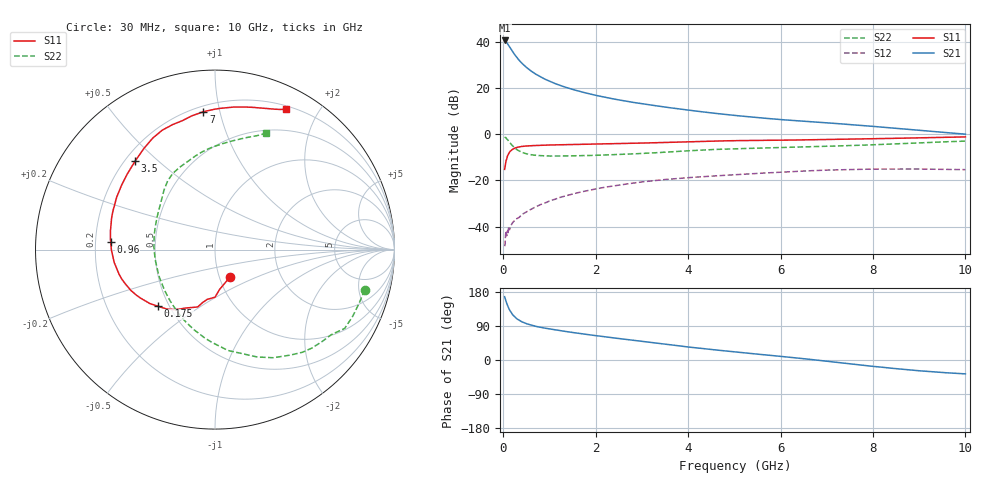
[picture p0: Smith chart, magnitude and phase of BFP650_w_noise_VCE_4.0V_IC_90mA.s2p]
! Infineon Technologies  Discrete & RF Semiconductors
! BFP650
! VCE =  4.0 V,  IC =  90 mA
! Common Emitter S-Parameters:  Jan 2016
# GHz  S  MA  R  50
!  f  S11  S21  S12  S22
! GHz  MAG  ANG  MAG  ANG  MAG  ANG  MAG  ANG
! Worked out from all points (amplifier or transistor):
!   229 points, 30 MHz to 10 GHz, reference 50 ohm
!   highest |S21| = 40.6 dB at 30 MHz (marker M1)
!   |S21| within 3 dB of that: start of sweep to 144.7 MHz
!   unconditionally stable (mu >= 1): 1.303 GHz to end of sweep
!   at 280 MHz: K = 0.63, MSG = 35.2 dB, |S12| = -36.7 dB
!   at 1.78 GHz: K = 1.02, MAG = 20.3 dB, |S12| = -24.6 dB
!   at 10 GHz: K = 1.03, MAG = 6.7 dB, |S12| = -15.3 dB
!   lowest NFmin = 1.34 dB at 450 MHz
!   S11 on the Smith chart (normalised r, x): 30 MHz: 1.12, -0.35; 175 MHz: 0.44, -0.35; 960 MHz: 0.26, +0.03; 3.5 GHz: 0.24, +0.42; 7 GHz: 0.24, +0.89; 10 GHz: 0.24, +1.60
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0.03  0.174 -61.2  106.6 167.1  0.0038 38.6  0.8633 -15.1
0.04  0.1959 -74.0  105.6 162.8  0.0042 59.5  0.857 -20.3
0.05  0.2233 -83.4  102.6 158.7  0.0066 74.5  0.8527 -25.7
0.065  0.2721 -94.6  99.65 153.4  0.0072 69.0  0.8231 -33.7
0.08  0.3023 -103.1  95.29 148.0  0.0065 64.3  0.7872 -40.4
0.1  0.3491 -112.4  89.19 141.7  0.0074 71.4  0.7517 -49.5
0.13  0.4009 -123.6  79.59 133.6  0.0086 63.6  0.6843 -61.7
0.175  0.447 -135.0  67.68 125.0  0.0109 59.8  0.6011 -75.0
0.2  0.4714 -140.4  61.81 120.0  0.0121 61.6  0.5664 -82.7
0.26  0.5052 -149.6  50.79 112.3  0.0141 56.0  0.4968 -96.4
0.3  0.521 -154.1  44.93 108.3  0.0151 57.3  0.4628 -104.3
0.4  0.5449 -162.5  34.63 101.0  0.0183 60.2  0.4092 -119.8
0.6  0.5664 -172.9  23.37 92.0  0.0238 61.2  0.3613 -141.0
0.96  0.5833 175.8  14.62 82.8  0.0346 62.1  0.3383 -163.8
1.7  0.606 160.4  8.211 69.3  0.057 57.0  0.3446 171.1
3.4  0.6595 133.5  3.999 43.3  0.1025 38.8  0.4033 138.2
3.5  0.6642 132.1  3.865 41.6  0.1049 37.8  0.4087 136.8
5.1  0.7286 112.8  2.5 20.4  0.1349 21.0  0.4882 117.6
6.8  0.7643 96.8  1.825 -0.4  0.1646 3.5  0.543 99.1
7  0.7711 94.8  1.769 -3.2  0.1677 1.2  0.5498 97.4
8.4  0.8136 77.4  1.369 -21.7  0.1767 -14.3  0.6134 80.9
10  0.8763 63.1  1.005 -36.6  0.1717 -27.3  0.7101 66.3
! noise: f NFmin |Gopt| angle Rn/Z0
0.45  1.34  0.53  -171  0.06
0.9  1.36  0.54  -165  0.07
1.9  1.5  0.57  -150  0.09
2.4  1.59  0.56  -141  0.12
3.5  1.78  0.56  -118  0.22
